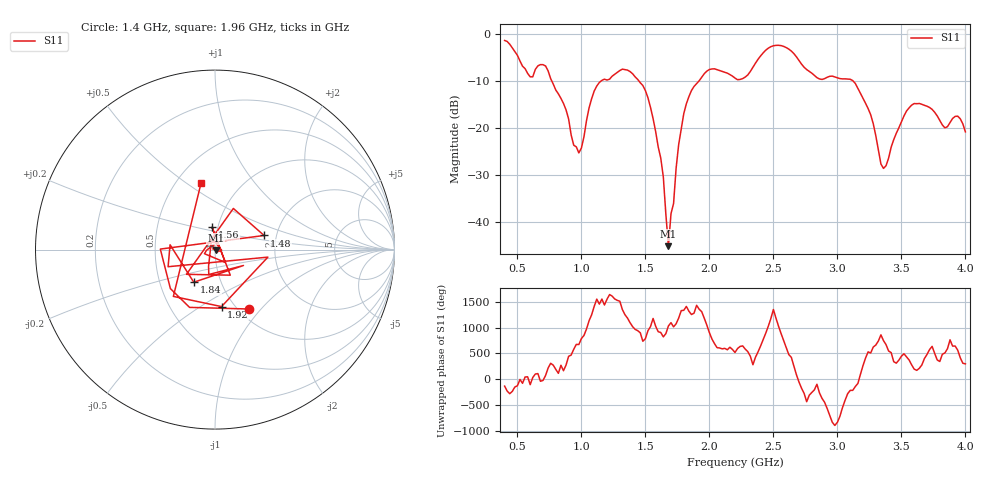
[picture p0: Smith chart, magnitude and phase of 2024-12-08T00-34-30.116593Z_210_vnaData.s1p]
!Created with skrf (http://scikit-rf.org).
# Hz S RI R 50.0
!freq ReS11 ImS11
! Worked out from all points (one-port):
!   181 points, 400 MHz to 4 GHz, reference 50 ohm
!   lowest |S11| = -45.2 dB at 1.68 GHz (marker M1), VSWR 1.01, Z = 50.4 - j0.405 ohm
!   |S11| at or under -10 dB: 769.5 MHz to 1.152 GHz (382.2 MHz wide, 39.8 % of centre); 1.451 GHz to 1.917 GHz (466.3 MHz wide, 27.7 % of centre); 3.124 GHz to end of sweep
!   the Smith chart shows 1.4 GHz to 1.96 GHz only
!   S11 on the Smith chart (normalised r, x): 1.4 GHz: 1.11, -0.86; 1.48 GHz: 1.72, +0.29; 1.56 GHz: 0.94, +0.24; 1.84 GHz: 0.74, -0.28; 1.92 GHz: 0.87, -0.62; 1.96 GHz: 0.66, +0.57
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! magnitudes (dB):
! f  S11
! 400 MHz  -1.3
! 600 MHz  -9.1
! 720 MHz  -6.7
! 860 MHz  -14.7
! 980 MHz  -25.3
! 1.1 GHz  -12.1
! 1.3 GHz  -7.7
! 1.4 GHz  -8.4
! 1.48 GHz  -10.9
! 1.56 GHz  -18.0
! 1.64 GHz  -30.4
! 1.68 GHz  -45.2
! 1.76 GHz  -23.5
! 1.84 GHz  -13.3
! 1.92 GHz  -9.9
! 1.96 GHz  -8.4
! 2.2 GHz  -9.3
! 2.48 GHz  -2.6
! 2.66 GHz  -4.1
! 2.86 GHz  -9.5
! 3.1 GHz  -9.6
! 3.26 GHz  -17.1
! 3.36 GHz  -28.6
! 3.56 GHz  -15.7
! 3.72 GHz  -15.6
! 3.84 GHz  -20.0
! 3.94 GHz  -17.5
! 4 GHz  -20.8
